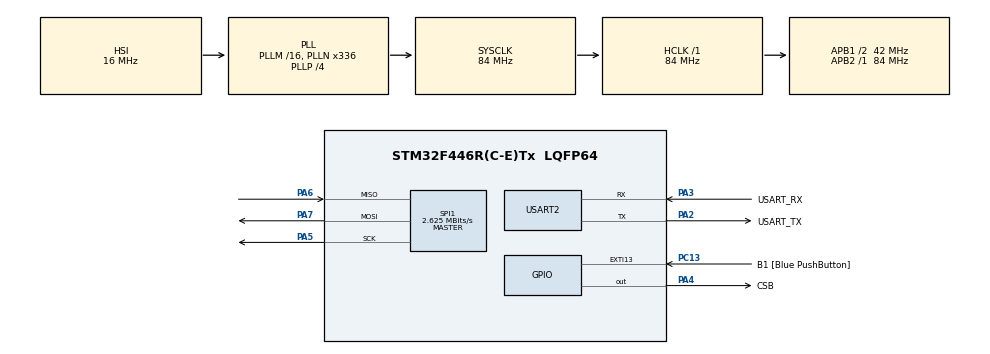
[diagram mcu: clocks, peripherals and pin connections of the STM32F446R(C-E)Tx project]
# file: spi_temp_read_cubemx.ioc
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Mcu.Family=STM32F4
Mcu.Name=STM32F446R(C-E)Tx
Mcu.Package=LQFP64
NVIC.PriorityGroup=NVIC_PRIORITYGROUP_0
PA13.GPIO_Label=TMS
PA13.Mode=Serial_Wire
PA13.Signal=SYS_JTMS-SWDIO
PA14.GPIO_Label=TCK
PA14.Mode=Serial_Wire
PA14.Signal=SYS_JTCK-SWCLK
PA2.GPIO_Label=USART_TX
PA2.Mode=Asynchronous
PA2.Signal=USART2_TX
PA3.GPIO_Label=USART_RX
PA3.Mode=Asynchronous
PA3.Signal=USART2_RX
PA4.GPIO_Label=CSB
PA4.GPIO_Speed=GPIO_SPEED_FREQ_HIGH
PA4.PinState=GPIO_PIN_SET
PA4.Signal=GPIO_Output
PA5.Mode=Full_Duplex_Master
PA5.Signal=SPI1_SCK
PA6.Mode=Full_Duplex_Master
PA6.Signal=SPI1_MISO
PA7.Mode=Full_Duplex_Master
PA7.Signal=SPI1_MOSI
PB3.GPIO_Label=SWO
PB3.Signal=SYS_JTDO-SWO
PC13.GPIO_Label=B1 [Blue PushButton]
PC13.GPIO_ModeDefaultEXTI=GPIO_MODE_IT_FALLING
PC13.Signal=GPXTI13
PC14-OSC32_IN.Mode=LSE-External-Oscillator
PC14-OSC32_IN.Signal=RCC_OSC32_IN
PC15-OSC32_OUT.Mode=LSE-External-Oscillator
PC15-OSC32_OUT.Signal=RCC_OSC32_OUT
PH0-OSC_IN.Mode=HSE-External-Oscillator
PH0-OSC_IN.Signal=RCC_OSC_IN
PH1-OSC_OUT.Mode=HSE-External-Oscillator
PH1-OSC_OUT.Signal=RCC_OSC_OUT
ProjectManager.HeapSize=0x200
ProjectManager.StackSize=0x400
ProjectManager.TargetToolchain=STM32CubeIDE
RCC.48MHZClocksFreq_Value=84000000
RCC.AHBFreq_Value=84000000
RCC.APB1CLKDivider=RCC_HCLK_DIV2
RCC.APB1Freq_Value=42000000
RCC.APB1TimFreq_Value=84000000
RCC.APB2Freq_Value=84000000
RCC.APB2TimFreq_Value=84000000
RCC.CortexFreq_Value=84000000
RCC.FLatency-AdvancedSettings=FLASH_LATENCY_2
RCC.HCLKFreq_Value=84000000
RCC.HSE_VALUE=8000000
RCC.HSI_VALUE=16000000
RCC.PLLN=336
RCC.PLLP=RCC_PLLP_DIV4
RCC.SYSCLKFreq_VALUE=84000000
RCC.SYSCLKSource=RCC_SYSCLKSOURCE_PLLCLK
RCC.USBFreq_Value=168000000
RCC.VCOOutputFreq_Value=336000000
SPI1.BaudRatePrescaler=SPI_BAUDRATEPRESCALER_32
SPI1.CalculateBaudRate=2.625 MBits/s
SPI1.Direction=SPI_DIRECTION_2LINES
SPI1.Mode=SPI_MODE_MASTER
SPI1.VirtualType=VM_MASTER
USART2.VirtualMode=VM_ASYNC
board=NUCLEO-F446RE

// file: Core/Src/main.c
/* USER CODE BEGIN Header */
/**
  ******************************************************************************
  * @file           : main.c
  * @brief          : Main program body
  ******************************************************************************
  * @attention
  *
  * Copyright (c) 2026 STMicroelectronics.
  * All rights reserved.
  *
  * This software is licensed under terms that can be found in the LICENSE file
  * in the root directory of this software component.
  * If no LICENSE file comes with this software, it is provided AS-IS.
  *
  ******************************************************************************
  */
#define BMP280_CS_LOW()      HAL_GPIO_WritePin(GPIOA, GPIO_PIN_4, GPIO_PIN_RESET)
#define BMP280_CS_HIGH()     HAL_GPIO_WritePin(GPIOA, GPIO_PIN_4, GPIO_PIN_SET)
/* USER CODE END Header */
#include "main.h"

/* USER CODE BEGIN Includes */
#include <string.h>

/* USER CODE END Includes */

SPI_HandleTypeDef hspi1;

UART_HandleTypeDef huart2;

void SystemClock_Config(void);
static void MX_GPIO_Init(void);
static void MX_USART2_UART_Init(void);
static void MX_SPI1_Init(void);

/* USER CODE BEGIN 0 */

void BMP280_writeReg(uint8_t reg_add,uint8_t data)
{
	uint8_t tx[2];
	tx[0] = reg_add & 0x7F;   // 7th bit determine write or read so write = 0
	tx[1] = data;

	BMP280_CS_LOW();
	HAL_SPI_Transmit(&hspi1, tx, 2, HAL_MAX_DELAY);
	BMP280_CS_HIGH();
}

void BMP280_ReadChip_id()
{
	uint8_t chip_id;
	uint8_t reg = (0xD0|0x80);
	HAL_GPIO_WritePin(GPIOA, GPIO_PIN_4, GPIO_PIN_RESET);

	HAL_SPI_Transmit(&hspi1, &reg, 1, 100);

	HAL_SPI_Receive(&hspi1, &chip_id, 1, 100);

	HAL_GPIO_WritePin(GPIOA, GPIO_PIN_4, GPIO_PIN_SET);

	char arr[50];

	sprintf(arr,"ID=%X\r\n",chip_id);

	HAL_UART_Transmit(&huart2,(uint8_t*)arr,strlen(arr),100);

    HAL_Delay(1000);

}

void BMP280_ReadRegs(uint8_t reg,uint8_t* pdata,uint8_t len)
{
	uint8_t reg_add = (reg |0x80);

	BMP280_CS_LOW();

	HAL_SPI_Transmit(&hspi1, &reg_add,1, HAL_MAX_DELAY);
	HAL_SPI_Receive(&hspi1, pdata, len, HAL_MAX_DELAY);

	BMP280_CS_HIGH();
}

int32_t BMP280_ReadTempADC(void)
{
    uint8_t temp_data[3];

    BMP280_ReadRegs(0xFA, temp_data, 3);

    return ((int32_t)temp_data[0] << 12) |
           ((int32_t)temp_data[1] << 4)  |
           ((int32_t)temp_data[2] >> 4);
}

uint16_t dig_T1;
int16_t  dig_T2;
int16_t  dig_T3;

void BMP280_ReadCalibration(void)
{
    uint8_t calib[6];

    BMP280_ReadRegs(0x88, calib, 6);

    dig_T1 = (calib[1] << 8) | calib[0];
    dig_T2 = (calib[3] << 8) | calib[2];
    dig_T3 = (calib[5] << 8) | calib[4];
}

int32_t t_fine;

float BMP280_CompensateTemp(int32_t adc_T)
{
    int32_t var1, var2;

    var1 = ((((adc_T >> 3) -
             ((int32_t)dig_T1 << 1))) *
             ((int32_t)dig_T2)) >> 11;

    var2 = (((((adc_T >> 4) -
             ((int32_t)dig_T1)) *
             ((adc_T >> 4) -
             ((int32_t)dig_T1))) >> 12) *
             ((int32_t)dig_T3)) >> 14;

    t_fine = var1 + var2;

    return ((t_fine * 5 + 128) >> 8) / 100.0f;
}

/* USER CODE END 0 */

int main(void)
{

  /* MCU Configuration--------------------------------------------------------*/

  /* Reset of all peripherals, Initializes the Flash interface and the Systick. */
  HAL_Init();

  /* Configure the system clock */
  SystemClock_Config();

  /* Initialize all configured peripherals */
  MX_GPIO_Init();
  MX_USART2_UART_Init();
  MX_SPI1_Init();

  /* USER CODE BEGIN 2 */
  BMP280_writeReg(0xF4, 0x27);

  HAL_Delay(100);

  BMP280_ReadCalibration();
  /* USER CODE END 2 */

  /* Infinite loop */
  while (1)
  {
	  int32_t adc_T = BMP280_ReadTempADC();

	  float temperature = BMP280_CompensateTemp(adc_T);

	  char msg[50];

	  int temp_x100 = (int)(temperature * 100);

	  sprintf(msg,"Temp = %d.%02d C\r\n",
	          temp_x100 / 100,
	          temp_x100 % 100);

	  HAL_UART_Transmit(&huart2,
	                    (uint8_t*)msg,
	                    strlen(msg),
	                    100);

	  HAL_Delay(1000);
  }
}

void SystemClock_Config(void)
{
  RCC_OscInitTypeDef RCC_OscInitStruct = {0};
  RCC_ClkInitTypeDef RCC_ClkInitStruct = {0};

  /** Configure the main internal regulator output voltage
  */
  __HAL_RCC_PWR_CLK_ENABLE();
  __HAL_PWR_VOLTAGESCALING_CONFIG(PWR_REGULATOR_VOLTAGE_SCALE3);

  /** Initializes the RCC Oscillators according to the specified parameters
  * in the RCC_OscInitTypeDef structure.
  */
  RCC_OscInitStruct.OscillatorType = RCC_OSCILLATORTYPE_HSI;
  RCC_OscInitStruct.HSIState = RCC_HSI_ON;
  RCC_OscInitStruct.HSICalibrationValue = RCC_HSICALIBRATION_DEFAULT;
  RCC_OscInitStruct.PLL.PLLState = RCC_PLL_ON;
  RCC_OscInitStruct.PLL.PLLSource = RCC_PLLSOURCE_HSI;
  RCC_OscInitStruct.PLL.PLLM = 16;
  RCC_OscInitStruct.PLL.PLLN = 336;
  RCC_OscInitStruct.PLL.PLLP = RCC_PLLP_DIV4;
  RCC_OscInitStruct.PLL.PLLQ = 2;
  RCC_OscInitStruct.PLL.PLLR = 2;
  if (HAL_RCC_OscConfig(&RCC_OscInitStruct) != HAL_OK)
  {
    Error_Handler();
  }

  /** Initializes the CPU, AHB and APB buses clocks
  */
  RCC_ClkInitStruct.ClockType = RCC_CLOCKTYPE_HCLK|RCC_CLOCKTYPE_SYSCLK
                              |RCC_CLOCKTYPE_PCLK1|RCC_CLOCKTYPE_PCLK2;
  RCC_ClkInitStruct.SYSCLKSource = RCC_SYSCLKSOURCE_PLLCLK;
  RCC_ClkInitStruct.AHBCLKDivider = RCC_SYSCLK_DIV1;
  RCC_ClkInitStruct.APB1CLKDivider = RCC_HCLK_DIV2;
  RCC_ClkInitStruct.APB2CLKDivider = RCC_HCLK_DIV1;

  if (HAL_RCC_ClockConfig(&RCC_ClkInitStruct, FLASH_LATENCY_2) != HAL_OK)
  {
    Error_Handler();
  }
}

static void MX_SPI1_Init(void)
{

  /* SPI1 parameter configuration*/
  hspi1.Instance = SPI1;
  hspi1.Init.Mode = SPI_MODE_MASTER;
  hspi1.Init.Direction = SPI_DIRECTION_2LINES;
  hspi1.Init.DataSize = SPI_DATASIZE_8BIT;
  hspi1.Init.CLKPolarity = SPI_POLARITY_LOW;
  hspi1.Init.CLKPhase = SPI_PHASE_1EDGE;
  hspi1.Init.NSS = SPI_NSS_SOFT;
  hspi1.Init.BaudRatePrescaler = SPI_BAUDRATEPRESCALER_32;
  hspi1.Init.FirstBit = SPI_FIRSTBIT_MSB;
  hspi1.Init.TIMode = SPI_TIMODE_DISABLE;
  hspi1.Init.CRCCalculation = SPI_CRCCALCULATION_DISABLE;
  hspi1.Init.CRCPolynomial = 10;
  if (HAL_SPI_Init(&hspi1) != HAL_OK)
  {
    Error_Handler();
  }

}

static void MX_USART2_UART_Init(void)
{

  huart2.Instance = USART2;
  huart2.Init.BaudRate = 115200;
  huart2.Init.WordLength = UART_WORDLENGTH_8B;
  huart2.Init.StopBits = UART_STOPBITS_1;
  huart2.Init.Parity = UART_PARITY_NONE;
  huart2.Init.Mode = UART_MODE_TX_RX;
  huart2.Init.HwFlowCtl = UART_HWCONTROL_NONE;
  huart2.Init.OverSampling = UART_OVERSAMPLING_16;
  if (HAL_UART_Init(&huart2) != HAL_OK)
  {
    Error_Handler();
  }

}

static void MX_GPIO_Init(void)
{
  GPIO_InitTypeDef GPIO_InitStruct = {0};

  /* GPIO Ports Clock Enable */
  __HAL_RCC_GPIOC_CLK_ENABLE();
  __HAL_RCC_GPIOH_CLK_ENABLE();
  __HAL_RCC_GPIOA_CLK_ENABLE();
  __HAL_RCC_GPIOB_CLK_ENABLE();

  /*Configure GPIO pin Output Level */
  HAL_GPIO_WritePin(CSB_GPIO_Port, CSB_Pin, GPIO_PIN_SET);

  /*Configure GPIO pin : B1_Pin */
  GPIO_InitStruct.Pin = B1_Pin;
  GPIO_InitStruct.Mode = GPIO_MODE_IT_FALLING;
  GPIO_InitStruct.Pull = GPIO_NOPULL;
  HAL_GPIO_Init(B1_GPIO_Port, &GPIO_InitStruct);

  /*Configure GPIO pin : CSB_Pin */
  GPIO_InitStruct.Pin = CSB_Pin;
  GPIO_InitStruct.Mode = GPIO_MODE_OUTPUT_PP;
  GPIO_InitStruct.Pull = GPIO_NOPULL;
  GPIO_InitStruct.Speed = GPIO_SPEED_FREQ_HIGH;
  HAL_GPIO_Init(CSB_GPIO_Port, &GPIO_InitStruct);

}

void Error_Handler(void)
{
  __disable_irq();
  while (1)
  {
  }
}
